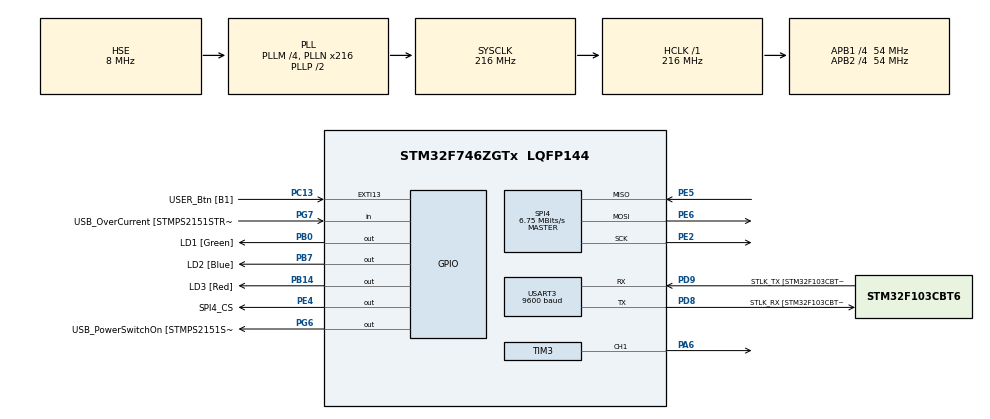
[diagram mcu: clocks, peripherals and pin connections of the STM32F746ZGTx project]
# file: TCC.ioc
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Mcu.Family=STM32F7
Mcu.Name=STM32F746ZGTx
Mcu.Package=LQFP144
NVIC.PriorityGroup=NVIC_PRIORITYGROUP_4
NVIC.SPI4_IRQn=true\:0\:0\:false\:false\:true\:true\:true\:true
NVIC.TIM2_IRQn=true\:0\:0\:false\:false\:true\:true\:true\:true
NVIC.TIM3_IRQn=true\:0\:0\:false\:false\:true\:true\:true\:true
NVIC.USART3_IRQn=true\:0\:0\:false\:false\:true\:true\:true\:true
PA1.GPIO_Label=RMII_REF_CLK [LAN8742A-CZ-TR_REFCLK0]
PA1.Signal=ETH_REF_CLK
PA10.GPIO_Label=USB_ID
PA10.Signal=USB_OTG_FS_ID
PA11.GPIO_Label=USB_DM
PA11.Signal=USB_OTG_FS_DM
PA12.GPIO_Label=USB_DP
PA12.Signal=USB_OTG_FS_DP
PA13.GPIO_Label=TMS
PA13.Mode=Serial_Wire
PA13.Signal=SYS_JTMS-SWDIO
PA14.GPIO_Label=TCK
PA14.Mode=Serial_Wire
PA14.Signal=SYS_JTCK-SWCLK
PA2.GPIO_Label=RMII_MDIO [LAN8742A-CZ-TR_MDIO]
PA2.Signal=ETH_MDIO
PA6.Signal=S_TIM3_CH1
PA7.GPIO_Label=RMII_CRS_DV [LAN8742A-CZ-TR_CRS_DV]
PA7.Signal=ETH_CRS_DV
PA8.GPIO_Label=USB_SOF [TP1]
PA8.Signal=USB_OTG_FS_SOF
PA9.GPIO_Label=USB_VBUS
PA9.Signal=USB_OTG_FS_VBUS
PB0.GPIO_Label=LD1 [Green]
PB0.Signal=GPIO_Output
PB13.GPIO_Label=RMII_TXD1 [LAN8742A-CZ-TR_TXD1]
PB13.Signal=ETH_TXD1
PB14.GPIO_Label=LD3 [Red]
PB14.Signal=GPIO_Output
PB3.GPIO_Label=SW0
PB3.Signal=SYS_JTDO-SWO
PB7.GPIO_Label=LD2 [Blue]
PB7.Signal=GPIO_Output
PC1.GPIO_Label=RMII_MDC [LAN8742A-CZ-TR_MDC]
PC1.Signal=ETH_MDC
PC13.GPIO_Label=USER_Btn [B1]
PC13.Signal=GPXTI13
PC14/OSC32_IN.Mode=LSE-External-Oscillator
PC14/OSC32_IN.Signal=RCC_OSC32_IN
PC15/OSC32_OUT.Mode=LSE-External-Oscillator
PC15/OSC32_OUT.Signal=RCC_OSC32_OUT
PC4.GPIO_Label=RMII_RXD0 [LAN8742A-CZ-TR_RXD0]
PC4.Signal=ETH_RXD0
PC5.GPIO_Label=RMII_RXD1 [LAN8742A-CZ-TR_RXD1]
PC5.Signal=ETH_RXD1
PD8.GPIO_Label=STLK_RX [STM32F103CBT6_PA3]
PD8.GPIO_PuPd=GPIO_PULLUP
PD8.Mode=Asynchronous
PD8.Signal=USART3_TX
PD9.GPIO_Label=STLK_TX [STM32F103CBT6_PA2]
PD9.GPIO_PuPd=GPIO_PULLUP
PD9.Mode=Asynchronous
PD9.Signal=USART3_RX
PE2.Mode=Full_Duplex_Master
PE2.Signal=SPI4_SCK
PE4.GPIO_Label=SPI4_CS
PE4.Signal=GPIO_Output
PE5.Mode=Full_Duplex_Master
PE5.Signal=SPI4_MISO
PE6.Mode=Full_Duplex_Master
PE6.Signal=SPI4_MOSI
PG11.GPIO_Label=RMII_TX_EN [LAN8742A-CZ-TR_TXEN]
PG11.Signal=ETH_TX_EN
PG13.GPIO_Label=RMII_TXD0 [LAN8742A-CZ-TR_TXD0]
PG13.Signal=ETH_TXD0
PG6.GPIO_Label=USB_PowerSwitchOn [STMPS2151STR_EN]
PG6.Signal=GPIO_Output
PG7.GPIO_Label=USB_OverCurrent [STMPS2151STR_FAULT]
PG7.Signal=GPIO_Input
PH0/OSC_IN.GPIO_Label=MCO [STM32F103CBT6_PA8]
PH0/OSC_IN.Mode=HSE-External-Clock-Source
PH0/OSC_IN.Signal=RCC_OSC_IN
PH1/OSC_OUT.Mode=HSE-External-Clock-Source
PH1/OSC_OUT.Signal=RCC_OSC_OUT
ProjectManager.HeapSize=0x200
ProjectManager.StackSize=0x400
ProjectManager.TargetToolchain=STM32CubeIDE
RCC.48MHZClocksFreq_Value=24000000
RCC.AHBFreq_Value=216000000
RCC.APB1CLKDivider=RCC_HCLK_DIV4
RCC.APB1Freq_Value=54000000
RCC.APB1TimFreq_Value=108000000
RCC.APB2CLKDivider=RCC_HCLK_DIV4
RCC.APB2Freq_Value=54000000
RCC.APB2TimFreq_Value=108000000
RCC.CortexFreq_Value=216000000
RCC.HCLKFreq_Value=216000000
RCC.HSE_VALUE=8000000
RCC.HSI_VALUE=16000000
RCC.PLLM=4
RCC.PLLMUL=RCC_PLL_MUL9
RCC.PLLN=216
RCC.PLLQ=3
RCC.PLLSourceVirtual=RCC_PLLSOURCE_HSE
RCC.PRESCALERUSB=RCC_USBCLKSOURCE_PLL_DIV1_5
RCC.SYSCLKFreq_VALUE=216000000
RCC.SYSCLKSource=RCC_SYSCLKSOURCE_PLLCLK
RCC.SYSCLKSourceVirtual=RCC_SYSCLKSOURCE_PLLCLK
RCC.USBFreq_Value=144000000
RCC.VCOOutputFreq_Value=432000000
SH.S_TIM3_CH1.0=TIM3_CH1,PWM Generation1 CH1
SPI4.BaudRatePrescaler=SPI_BAUDRATEPRESCALER_8
SPI4.CLKPhase=SPI_PHASE_2EDGE
SPI4.CLKPolarity=SPI_POLARITY_HIGH
SPI4.CalculateBaudRate=6.75 MBits/s
SPI4.DataSize=SPI_DATASIZE_8BIT
SPI4.Direction=SPI_DIRECTION_2LINES
SPI4.Mode=SPI_MODE_MASTER
SPI4.VirtualType=VM_MASTER
TIM2.Period=99999
TIM2.Prescaler=107
TIM3.Channel-PWM\ Generation1\ CH1=TIM_CHANNEL_1
TIM3.Period=999
TIM3.Prescaler=107
TIM3.Pulse-PWM\ Generation1\ CH1=0
USART3.BaudRate=9600
USART3.VirtualMode-Asynchronous=VM_ASYNC
VP_TIM2_VS_ClockSourceINT.Mode=Internal
board=NUCLEO-F746ZG

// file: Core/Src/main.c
/* USER CODE BEGIN Header */
/**
  ******************************************************************************
  * @file           : main.c
  * @brief          : Main program body
  ******************************************************************************
  * @attention
  *
  * Copyright (c) 2023 STMicroelectronics.
  * All rights reserved.
  *
  * This software is licensed under terms that can be found in the LICENSE file
  * in the root directory of this software component.
  * If no LICENSE file comes with this software, it is provided AS-IS.
  *
  ******************************************************************************
  */
/* USER CODE END Header */
#include "main.h"
#include "spi.h"
#include "tim.h"
#include "usart.h"
#include "gpio.h"

/* USER CODE BEGIN Includes */
#include "bmp2_config.h"
#include <stdio.h>
#include <stdlib.h>
#include <string.h>
/* USER CODE END Includes */

/* USER CODE BEGIN PV */
float temp;    // [degC]
int newTemp = 0;
char dane[128];

float set_point = 25.0;
float kp = 0.7093;
float ki = 1/333.666;
float kd = 0.0;

float I, prev_I = 0.0;
float error, error_p, prev_error = 0.0;
float pwm_i, pwm_p = 0.0;
float dt = 0.1;
float error = 0;
float CalculatePWMValue(float temp){
	error = set_point - temp;
	I += error+prev_error;
	pwm_i = I*ki*(dt/2.0);
	prev_error = error;
	pwm_p = kp*error;
	float helpPWMValue = 100*(pwm_p + pwm_i);
	if (helpPWMValue > 999) {
		helpPWMValue = 1000;
	}
	if(helpPWMValue < 0){
		helpPWMValue = 0;
	}
	return helpPWMValue;
}

float PWMValue = 0;
char message[] = "%d, %d, %d\r\n";
void HAL_TIM_PeriodElapsedCallback(TIM_HandleTypeDef *htim)
{
  if(htim==&htim2)
  {
	  temp = BMP2_ReadTemperature_degC(&bmp2dev_1);
	  newTemp = (int)(temp*1000);
//	  error = set_point - temp;
//	  I += error+prev_error;
//	  pwm_i = I*ki*(dt/2.0);
//	  prev_error = error;
//	  pwm_p = kp*error;
//	  PWMValue = 100*(pwm_p + pwm_i);
//	  if (PWMValue > 999) {
//		  PWMValue = 1000;
//	  }
//	  if(PWMValue < 0){
//		  PWMValue = 0;
//	  }
	  PWMValue = CalculatePWMValue(temp);
	  __HAL_TIM_SET_COMPARE(&htim3, TIM_CHANNEL_1, (int)PWMValue);
	  int daneD=sprintf(&dane,&message,newTemp, (int)PWMValue, (int)(error*1000));
	  HAL_UART_Transmit_IT(&huart3,(uint8_t*)dane , daneD);
  }
}

//unsigned char PWM[6];
uint8_t userSettings[4];
void HAL_UART_RxCpltCallback(UART_HandleTypeDef *huart)
{
	set_point = atof((char *)userSettings);
    HAL_UART_Receive_IT(&huart3,&userSettings ,4);

}

/* USER CODE END PV */

void SystemClock_Config(void);

int main(void)
{

  /* MCU Configuration--------------------------------------------------------*/

  /* Reset of all peripherals, Initializes the Flash interface and the Systick. */
  HAL_Init();

  /* Configure the system clock */
  SystemClock_Config();

  /* Initialize all configured peripherals */
  MX_GPIO_Init();
  MX_USART3_UART_Init();
  MX_SPI4_Init();
  MX_TIM2_Init();
  MX_TIM3_Init();
  /* USER CODE BEGIN 2 */
  BMP2_Init(&bmp2dev_1);
  HAL_TIM_Base_Start_IT(&htim2);
  HAL_TIM_PWM_Start(&htim3, TIM_CHANNEL_1);
  HAL_UART_Receive_IT(&huart3,&userSettings,4);

  /* USER CODE END 2 */

  /* Infinite loop */
  while (1)
  {

  }
}

void SystemClock_Config(void)
{
  RCC_OscInitTypeDef RCC_OscInitStruct = {0};
  RCC_ClkInitTypeDef RCC_ClkInitStruct = {0};

  /** Configure LSE Drive Capability
  */
  HAL_PWR_EnableBkUpAccess();

  /** Configure the main internal regulator output voltage
  */
  __HAL_RCC_PWR_CLK_ENABLE();
  __HAL_PWR_VOLTAGESCALING_CONFIG(PWR_REGULATOR_VOLTAGE_SCALE1);

  /** Initializes the RCC Oscillators according to the specified parameters
  * in the RCC_OscInitTypeDef structure.
  */
  RCC_OscInitStruct.OscillatorType = RCC_OSCILLATORTYPE_HSE;
  RCC_OscInitStruct.HSEState = RCC_HSE_BYPASS;
  RCC_OscInitStruct.PLL.PLLState = RCC_PLL_ON;
  RCC_OscInitStruct.PLL.PLLSource = RCC_PLLSOURCE_HSE;
  RCC_OscInitStruct.PLL.PLLM = 4;
  RCC_OscInitStruct.PLL.PLLN = 216;
  RCC_OscInitStruct.PLL.PLLP = RCC_PLLP_DIV2;
  RCC_OscInitStruct.PLL.PLLQ = 3;
  if (HAL_RCC_OscConfig(&RCC_OscInitStruct) != HAL_OK)
  {
    Error_Handler();
  }

  /** Activate the Over-Drive mode
  */
  if (HAL_PWREx_EnableOverDrive() != HAL_OK)
  {
    Error_Handler();
  }

  /** Initializes the CPU, AHB and APB buses clocks
  */
  RCC_ClkInitStruct.ClockType = RCC_CLOCKTYPE_HCLK|RCC_CLOCKTYPE_SYSCLK
                              |RCC_CLOCKTYPE_PCLK1|RCC_CLOCKTYPE_PCLK2;
  RCC_ClkInitStruct.SYSCLKSource = RCC_SYSCLKSOURCE_PLLCLK;
  RCC_ClkInitStruct.AHBCLKDivider = RCC_SYSCLK_DIV1;
  RCC_ClkInitStruct.APB1CLKDivider = RCC_HCLK_DIV4;
  RCC_ClkInitStruct.APB2CLKDivider = RCC_HCLK_DIV4;

  if (HAL_RCC_ClockConfig(&RCC_ClkInitStruct, FLASH_LATENCY_7) != HAL_OK)
  {
    Error_Handler();
  }
}

void Error_Handler(void)
{
  __disable_irq();
  while (1)
  {
  }
}
